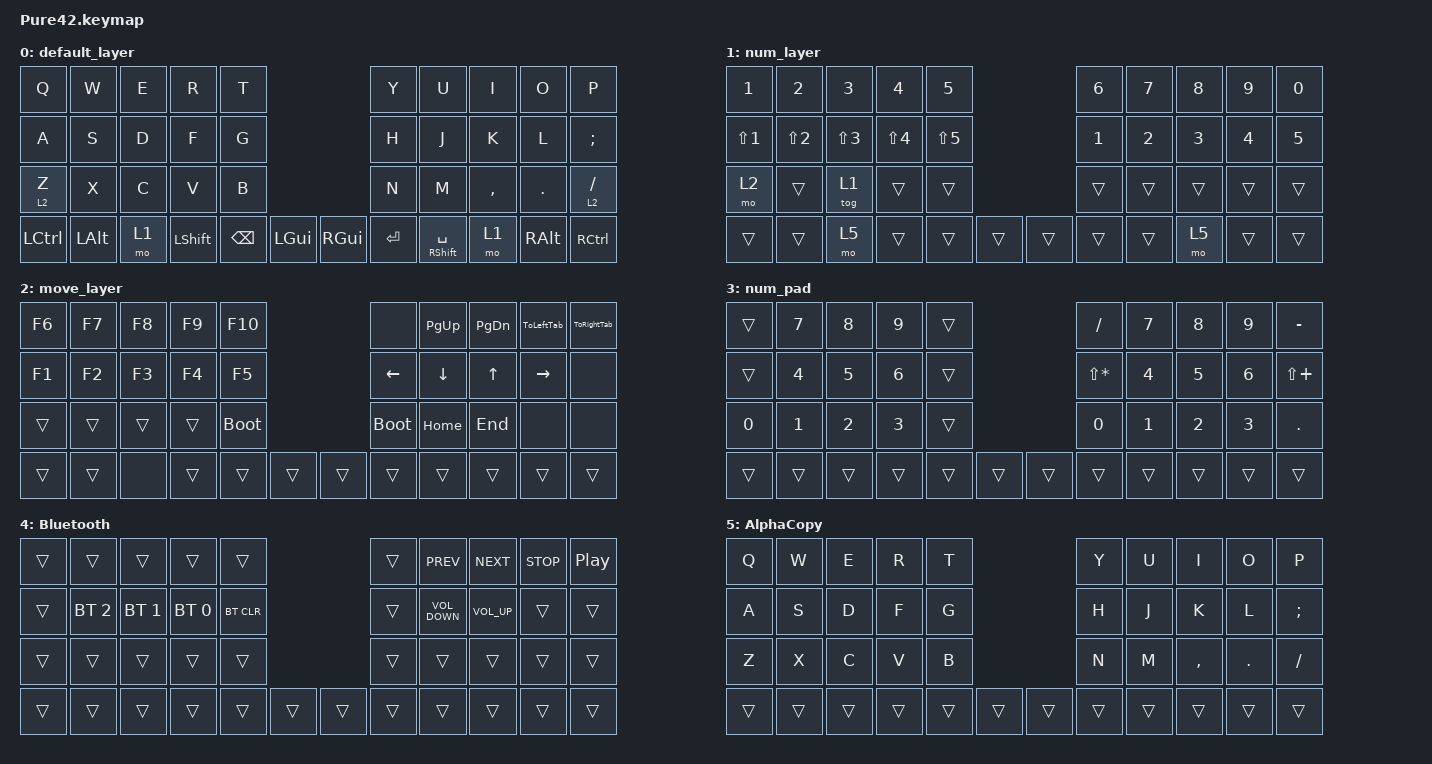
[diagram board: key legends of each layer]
/*
 * Copyright (c) 2020 The ZMK Contributors
 *
 * SPDX-License-Identifier: MIT
 */

#include <behaviors.dtsi>
#include <dt-bindings/zmk/bt.h>
#include <dt-bindings/zmk/keys.h>

/ {
    behaviors {
        hm: homerow_mods {
            compatible = "zmk,behavior-hold-tap";
            label = "HOMEROW_MODS";
            #binding-cells = <2>;
            tapping-term-ms = <300>;
            quick-tap-ms = <200>;
            flavor = "tap-preferred";
            bindings = <&kp>, <&kp>;
        };
    };

    combos {
        compatible = "zmk,combos";

        esc {
            bindings = <&kp ESCAPE>;
            key-positions = <21 22>;
        };

        tab {
            bindings = <&kp TAB>;
            key-positions = <12 11>;
        };

        caps {
            bindings = <&InputSwitch>;
            key-positions = <11 10>;
        };

        slash {
            bindings = <&kp BACKSLASH>;
            key-positions = <9 8>;
        };

        quote {
            bindings = <&kp SINGLE_QUOTE>;
            key-positions = <19 18>;
        };

        equal {
            bindings = <&kp EQUAL>;
            key-positions = <0 1>;
        };

        minus {
            bindings = <&kp MINUS>;
            key-positions = <7 8>;
        };

        ToggleNumPad {
            bindings = <&tog 1>;
            key-positions = <12 13 16 17>;
        };

        tilde {
            bindings = <&kp GRAVE>;
            key-positions = <29 28>;
        };

        bracket {
            bindings = <&kp LEFT_BRACKET>;
            key-positions = <26 27>;
        };

        movement {
            bindings = <&tog 2>;
            key-positions = <20 29>;
        };

        Tab_right {
            bindings = <&kp TAB>;
            key-positions = <17 18>;
        };

        toggleBlueTooth {
            bindings = <&mo 4>;
            key-positions = <32 39>;
        };

        plus {
            bindings = <&kp PLUS>;
            key-positions = <1 2>;
        };

        right_bracket {
            bindings = <&kp RIGHT_BRACKET>;
            key-positions = <27 28>;
        };

        Copy {
            bindings = <&Copy>;
            key-positions = <23 22>;
        };

        Paste {
            bindings = <&Paste>;
            key-positions = <23 24>;
        };

        Left_brace {
            bindings = <&kp LEFT_PARENTHESIS>;
            key-positions = <3 4>;
        };

        Right_brace {
            bindings = <&kp RIGHT_PARENTHESIS>;
            key-positions = <5 6>;
        };

        Down {
            bindings = <&kp DOWN>;
            key-positions = <20 16>;
        };

        Up {
            bindings = <&kp UP_ARROW>;
            key-positions = <20 17>;
        };

        numlayer1 {
            bindings = <&mo 1>;
            key-positions = <12 13>;
        };

        numLayer2 {
            bindings = <&tog 1>;
            key-positions = <38 33>;
        };

        FF1 {
            bindings = <&kp F1>;
            key-positions = <10 29>;
        };

        FF2 {
            bindings = <&kp F2>;
            key-positions = <29 11>;
        };

        FF3 {
            bindings = <&kp F3>;
            key-positions = <29 12>;
        };

        FF4 {
            bindings = <&kp F4>;
            key-positions = <29 13>;
        };

        FF5 {
            bindings = <&kp F5>;
            key-positions = <29 14>;
        };
    };

    macros {
        brace_back: brace_back {
            compatible = "zmk,behavior-macro";
            #binding-cells = <0>;
            bindings = <&kp LEFT_BRACKET &kp RIGHT_BRACKET &kp LEFT>;
            label = "BRACE_BACK";
        };

        Copy: Copy {
            compatible = "zmk,behavior-macro";
            #binding-cells = <0>;
            bindings = <&kp LG(C)>;
            label = "COPY";
        };

        Paste: Paste {
            compatible = "zmk,behavior-macro";
            #binding-cells = <0>;
            bindings = <&kp LG(V)>;
            label = "PASTE";
        };

        ToLeftTab: ToLeftTab {
            compatible = "zmk,behavior-macro";
            #binding-cells = <0>;
            bindings = <&kp LG(LEFT_BRACE)>;
            label = "TOLEFTTAB";
        };

        ToRightTab: ToRightTab {
            compatible = "zmk,behavior-macro";
            #binding-cells = <0>;
            bindings = <&kp LG(RIGHT_BRACE)>;
            label = "TORIGHTTAB";
        };

        InputSwitch: InputSwitch {
            compatible = "zmk,behavior-macro";
            #binding-cells = <0>;
            bindings = <&kp LC(RS(SPACE))>;
            label = "INPUTSWITCH";
        };
    };

    keymap {
        compatible = "zmk,keymap";

        default_layer {
            bindings = <
&kp Q             &kp W         &kp E  &kp R           &kp T                                       &kp Y      &kp U                  &kp I      &kp O          &kp P
&kp A             &kp S         &kp D  &kp F           &kp G                                       &kp H      &kp J                  &kp K      &kp L          &kp SEMI
&lt 2 Z           &kp X         &kp C  &kp V           &kp B                                       &kp N      &kp M                  &kp COMMA  &kp DOT        &lt 2 SLASH
&kp LEFT_CONTROL  &kp LEFT_ALT  &mo 1  &kp LEFT_SHIFT  &kp BACKSPACE  &kp LEFT_GUI  &kp RIGHT_GUI  &kp ENTER  &mt RIGHT_SHIFT SPACE  &mo 1      &kp RIGHT_ALT  &kp RIGHT_CONTROL
            >;
        };

        num_layer {
            bindings = <
&kp N1      &kp N2      &kp N3      &kp N4      &kp N5                      &kp NUMBER_6  &kp N7        &kp N8        &kp N9        &kp N0
&kp LS(N1)  &kp LS(N2)  &kp LS(N3)  &kp LS(N4)  &kp LS(N5)                  &kp NUMBER_1  &kp NUMBER_2  &kp NUMBER_3  &kp NUMBER_4  &kp N5
&mo 2       &trans      &tog 1      &trans      &trans                      &trans        &trans        &trans        &trans        &trans
&trans      &trans      &mo 5       &trans      &trans      &trans  &trans  &trans        &trans        &mo 5         &trans        &trans
            >;
        };

        move_layer {
            bindings = <
&kp F6  &kp F7  &kp F8  &kp F9  &kp F10                      &none        &kp PAGE_UP  &kp PAGE_DOWN  &ToLeftTab  &ToRightTab
&kp F1  &kp F2  &kp F3  &kp F4  &kp F5                       &kp LEFT     &kp DOWN     &kp UP_ARROW   &kp RIGHT   &none
&trans  &trans  &trans  &trans  &bootloader                  &bootloader  &kp HOME     &kp END        &none       &none
&trans  &trans  &none   &trans  &trans       &trans  &trans  &trans       &trans       &trans         &trans      &trans
            >;
        };

        num_pad {
            bindings = <
&trans        &kp N7  &kp N8  &kp N9  &trans                  &kp FSLH      &kp N7  &kp N8  &kp N9  &kp MINUS
&trans        &kp N4  &kp N5  &kp N6  &trans                  &kp LS(STAR)  &kp N4  &kp N5  &kp N6  &kp LS(PLUS)
&kp NUMBER_0  &kp N1  &kp N2  &kp N3  &trans                  &kp NUMBER_0  &kp N1  &kp N2  &kp N3  &kp PERIOD
&trans        &trans  &trans  &trans  &trans  &trans  &trans  &trans        &trans  &trans  &trans  &trans
            >;
        };

        Bluetooth {
            bindings = <
&trans  &trans        &trans        &trans        &trans                      &trans  &kp C_PREV         &kp C_NEXT       &kp C_STOP  &kp C_PLAY_PAUSE
&trans  &bt BT_SEL 2  &bt BT_SEL 1  &bt BT_SEL 0  &bt BT_CLR                  &trans  &kp C_VOLUME_DOWN  &kp C_VOLUME_UP  &trans      &trans
&trans  &trans        &trans        &trans        &trans                      &trans  &trans             &trans           &trans      &trans
&trans  &trans        &trans        &trans        &trans      &trans  &trans  &trans  &trans             &trans           &trans      &trans
            >;
        };

        AlphaCopy {
            bindings = <
&kp Q   &kp W   &kp E   &kp R   &kp T                   &kp Y   &kp U   &kp I      &kp O    &kp P
&kp A   &kp S   &kp D   &kp F   &kp G                   &kp H   &kp J   &kp K      &kp L    &kp SEMI
&kp Z   &kp X   &kp C   &kp V   &kp B                   &kp N   &kp M   &kp COMMA  &kp DOT  &kp FSLH
&trans  &trans  &trans  &trans  &trans  &trans  &trans  &trans  &trans  &trans     &trans   &trans
            >;
        };
    };
};
